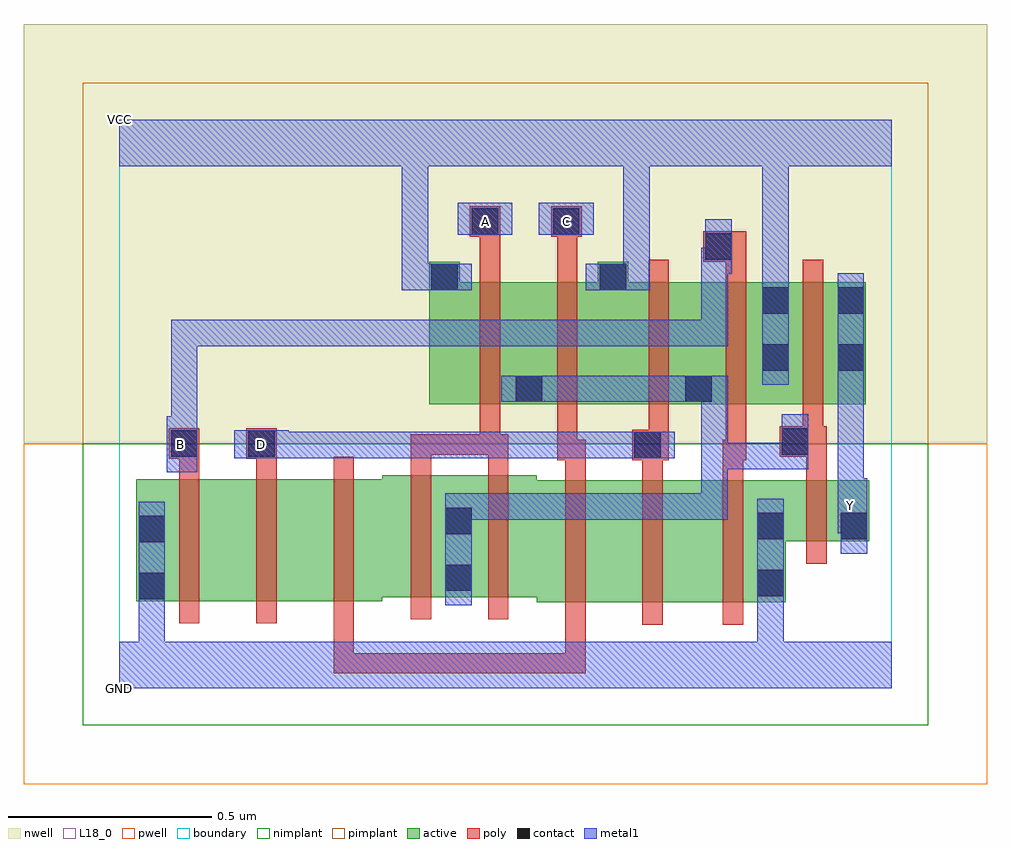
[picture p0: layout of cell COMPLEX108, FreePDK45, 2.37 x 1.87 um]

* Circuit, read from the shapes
.subckt COMPLEX108 A B C D GND VCC Y
M1 n1 B GND VSUBS nfet w=0.3u l=0.05u
M2 n2 D n1 VSUBS nfet w=0.3u l=0.05u
M3 n3 C n2 VSUBS nfet w=0.3u l=0.05u
M4 n4 A n3 VSUBS nfet w=0.3u l=0.05u
M5 n5 A n4 VSUBS nfet w=0.3u l=0.05u
M6 n6 C n5 VSUBS nfet w=0.3u l=0.05u
M7 n7 D n6 VSUBS nfet w=0.3u l=0.05u
M8 GND B n7 VSUBS nfet w=0.3u l=0.05u
M9 Y n4 GND VSUBS nfet w=0.15u l=0.05u
M10 n4 A VCC n8 pfet w=0.3u l=0.05u
M11 VCC C n4 n8 pfet w=0.3u l=0.05u
M12 n4 D VCC n8 pfet w=0.3u l=0.05u
M13 VCC B n4 n8 pfet w=0.3u l=0.05u
M14 Y n4 VCC n8 pfet w=0.3u l=0.05u
.ends

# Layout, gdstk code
import gdstk
lib = gdstk.Library(unit=1e-6, precision=1e-09)
def R(c, l, rs):  # rectangles x0, y0, x1, y1
    for r in rs: c.add(gdstk.rectangle(r[:2], r[2:], *l))
def A(c, l, x, y, w, h, nx, ny, dx, dy):  # array of equal rectangles
    R(c, l, [(x+i*dx, y+j*dy, x+i*dx+w, y+j*dy+h) for i in range(nx) for j in range(ny)])
active = (1, 0)
pwell = (2, 0)
nwell = (3, 0)
nimplant = (4, 0)
pimplant = (5, 0)
poly = (9, 0)
contact = (10, 0)
metal1 = (11, 0)
L18_0 = (18, 0)
boundary = (235, 0)

complex108 = lib.new_cell('COMPLEX108')
R(complex108, active, [(1.027,0.212,1.217,0.512), (1.217,0.212,1.407,0.512), (1.407,0.212,1.64,0.512), (1.565,0.212,1.64,0.512), (0.042,0.215,0.117,0.515), (0.042,0.215,0.267,0.515), (0.267,0.215,0.457,0.515), (0.457,0.215,0.647,0.515), (0.647,0.225,0.872,0.525), (0.797,0.225,1.027,0.525), (0.797,0.225,0.872,0.517), (1.565,0.362,1.845,0.512), (1.77,0.362,1.845,0.512), (0.762,0.7,1.045,1), (0.762,0.7,0.837,1.05), (0.97,0.7,1.252,1), (0.97,0.7,1.045,0.927), (1.177,0.7,1.462,1), (1.387,0.7,1.462,1), (1.387,0.7,1.652,1), (1.577,0.7,1.652,1), (1.577,0.7,1.837,1), (1.762,0.7,1.837,0.992), (1.177,0.832,1.252,1.05)])
R(complex108, pwell, [(-0.235,-0.235,2.135,0.602)])
R(complex108, nwell, [(-0.235,0.602,2.135,1.635)])
R(complex108, nimplant, [(-0.09,-0.09,1.99,0.602)])
R(complex108, pimplant, [(-0.09,0.602,1.99,1.49)])
A(complex108, poly, 0.147, 0.16, 0.05, 0.41, 3, 1, 0.19, 0)
A(complex108, poly, 1.302, 0.645, 0.05, 0.41, 3, 1, 0.19, 0)
R(complex108, poly, [(0.527,0.037,0.577,0.087), (0.527,0.037,0.767,0.087), (0.527,0.037,0.577,0.21), (0.717,0.037,0.767,0.087), (0.717,0.037,0.767,0.087), (0.717,0.037,0.767,0.087), (0.717,0.037,0.9,0.087), (0.85,0.037,0.9,0.087), (0.85,0.037,0.9,0.087), (0.85,0.037,0.9,0.087), (0.85,0.037,1.147,0.087), (1.097,0.037,1.147,0.207), (1.097,0.037,1.147,0.087), (1.097,0.037,1.147,0.087), (1.097,0.037,1.147,0.087), (1.097,0.157,1.147,0.567), (1.287,0.157,1.337,0.567), (1.485,0.157,1.535,0.567), (0.717,0.17,0.767,0.58), (0.907,0.17,0.957,0.58), (1.69,0.307,1.74,0.567), (1.097,0.517,1.147,0.612), (1.287,0.517,1.337,0.612), (1.485,0.517,1.535,0.612), (1.69,0.517,1.74,0.62), (0.147,0.52,0.197,0.615), (0.337,0.52,0.387,0.615), (0.717,0.53,0.767,0.625), (0.907,0.53,0.957,0.625), (1.077,0.562,1.127,0.695), (1.077,0.562,1.147,0.612), (1.262,0.562,1.352,0.637), (1.485,0.562,1.542,0.612), (1.492,0.562,1.542,0.695), (0.122,0.565,0.197,0.64), (0.312,0.565,0.387,0.64), (1.625,0.57,1.74,0.645), (0.717,0.575,0.767,0.625), (0.717,0.575,0.937,0.625), (0.887,0.575,0.957,0.625), (0.887,0.575,0.937,0.625), (0.887,0.575,0.937,0.625), (0.887,0.575,0.937,0.695), (1.302,0.587,1.352,0.695), (1.682,0.595,1.732,0.695), (0.887,0.645,0.937,1.055), (1.077,0.645,1.127,1.055), (0.887,1.005,0.937,1.162), (1.077,1.005,1.127,1.162), (1.492,1.005,1.542,1.1), (1.437,1.05,1.542,1.125), (0.862,1.112,0.937,1.187), (1.062,1.112,1.137,1.187)])
R(complex108, contact, [(0.047,0.22,0.112,0.285), (1.57,0.227,1.635,0.292), (0.802,0.24,0.867,0.305), (0.047,0.36,0.112,0.425), (1.57,0.367,1.635,0.432), (1.775,0.367,1.84,0.432), (0.802,0.38,0.867,0.445), (1.267,0.567,1.332,0.632), (0.127,0.57,0.192,0.635), (0.317,0.57,0.382,0.635), (1.63,0.575,1.695,0.64), (0.975,0.705,1.04,0.77), (1.392,0.705,1.457,0.77), (1.582,0.782,1.647,0.847), (1.767,0.782,1.832,0.847), (1.582,0.922,1.647,0.987), (1.767,0.922,1.832,0.987), (0.767,0.98,0.832,1.045), (1.182,0.98,1.247,1.045), (1.442,1.055,1.507,1.12), (0.867,1.117,0.932,1.182), (1.067,1.117,1.132,1.182)])
R(complex108, metal1, [(0,0,1.9,0.115), (0.047,0.05,0.112,0.115), (0.047,0.05,0.112,0.115), (0.047,0.05,0.112,0.25), (1.57,0.05,1.635,0.257), (0.047,0.185,0.112,0.46), (1.57,0.192,1.635,0.467), (1.57,0.192,1.635,0.257), (1.57,0.192,1.635,0.257), (0.802,0.205,0.867,0.48), (1.775,0.332,1.84,0.467), (1.767,0.382,1.84,0.517), (1.775,0.382,1.84,0.447), (0.802,0.415,0.867,0.48), (0.802,0.415,0.867,0.48), (0.802,0.415,1.075,0.48), (1.01,0.415,1.075,0.48), (1.01,0.415,1.075,0.48), (1.01,0.415,1.075,0.48), (1.01,0.415,1.212,0.48), (1.147,0.415,1.212,0.48), (1.147,0.415,1.305,0.48), (1.24,0.415,1.305,0.48), (1.24,0.415,1.497,0.48), (1.432,0.415,1.497,0.48), (1.432,0.415,1.497,0.605), (1.767,0.452,1.832,0.812), (0.117,0.532,0.192,0.67), (1.432,0.54,1.497,0.605), (1.432,0.54,1.557,0.605), (1.432,0.54,1.497,0.77), (1.492,0.54,1.557,0.605), (1.492,0.54,1.695,0.605), (1.63,0.54,1.695,0.605), (1.63,0.54,1.695,0.605), (1.63,0.54,1.695,0.675), (0.282,0.567,0.417,0.635), (0.352,0.567,0.417,0.632), (0.352,0.567,0.417,0.632), (0.352,0.567,0.555,0.632), (0.49,0.567,0.555,0.632), (0.49,0.567,0.555,0.632), (0.49,0.567,0.555,0.632), (0.49,0.567,0.73,0.632), (0.665,0.567,0.73,0.632), (0.665,0.567,0.73,0.632), (0.665,0.567,0.73,0.632), (0.665,0.567,0.937,0.632), (0.872,0.567,0.937,0.632), (0.872,0.567,1.075,0.632), (1.01,0.567,1.075,0.632), (1.01,0.567,1.075,0.632), (1.01,0.567,1.075,0.632), (1.01,0.567,1.212,0.632), (1.147,0.567,1.212,0.632), (1.147,0.567,1.297,0.632), (1.232,0.567,1.367,0.632), (0.127,0.605,0.192,0.67), (0.127,0.605,0.192,0.67), (0.127,0.605,0.192,0.907), (0.94,0.705,1.075,0.77), (1.01,0.705,1.075,0.77), (1.01,0.705,1.075,0.77), (1.01,0.705,1.212,0.77), (1.147,0.705,1.212,0.77), (1.147,0.705,1.37,0.77), (1.305,0.705,1.37,0.77), (1.305,0.705,1.422,0.77), (1.357,0.705,1.497,0.77), (1.582,0.747,1.647,1.022), (1.767,0.747,1.832,1.022), (0.127,0.842,0.192,0.907), (0.127,0.842,0.33,0.907), (0.265,0.842,0.33,0.907), (0.265,0.842,0.33,0.907), (0.265,0.842,0.33,0.907), (0.265,0.842,0.555,0.907), (0.49,0.842,0.555,0.907), (0.49,0.842,0.555,0.907), (0.49,0.842,0.555,0.907), (0.49,0.842,0.692,0.907), (0.627,0.842,0.692,0.907), (0.627,0.842,0.692,0.907), (0.627,0.842,0.692,0.907), (0.627,0.842,0.692,0.907), (0.627,0.842,0.692,0.907), (0.627,0.842,0.905,0.907), (0.84,0.842,0.905,0.907), (0.84,0.842,1.075,0.907), (1.01,0.842,1.075,0.907), (1.01,0.842,1.075,0.907), (1.01,0.842,1.075,0.907), (1.01,0.842,1.212,0.907), (1.147,0.842,1.212,0.907), (1.147,0.842,1.36,0.907), (1.295,0.842,1.36,0.907), (1.295,0.842,1.497,0.907), (1.432,0.842,1.497,0.907), (1.432,0.842,1.497,1.085), (1.582,0.957,1.647,1.022), (1.582,0.957,1.647,1.022), (1.582,0.957,1.647,1.022), (1.582,0.957,1.647,1.022), (1.582,0.957,1.647,1.35), (0.695,0.98,0.76,1.045), (0.695,0.98,0.76,1.045), (0.695,0.98,0.76,1.35), (0.695,0.98,0.867,1.045), (1.147,0.98,1.305,1.045), (1.24,0.98,1.305,1.045), (1.24,0.98,1.305,1.045), (1.24,0.98,1.305,1.045), (1.24,0.98,1.305,1.045), (1.24,0.98,1.305,1.35), (1.432,1.02,1.497,1.085), (1.432,1.02,1.497,1.085), (1.432,1.02,1.497,1.085), (1.432,1.02,1.507,1.085), (1.442,1.02,1.507,1.155), (0.832,1.117,0.967,1.195), (1.032,1.117,1.167,1.195), (0,1.285,1.9,1.4), (0.695,1.285,0.76,1.35), (0.695,1.285,0.76,1.35)])
R(complex108, L18_0, [(0,0,1.9,0.115), (0.047,0.05,0.112,0.115), (0.047,0.05,0.112,0.115), (0.047,0.05,0.112,0.25), (1.57,0.05,1.635,0.257), (0.047,0.185,0.112,0.46), (1.57,0.192,1.635,0.257), (1.57,0.192,1.635,0.257), (1.57,0.192,1.635,0.467), (1.775,0.332,1.84,0.467), (1.767,0.382,1.84,0.517), (1.775,0.382,1.84,0.447), (1.767,0.417,1.832,0.482), (1.767,0.452,1.832,0.812), (0.117,0.532,0.192,0.67), (0.117,0.567,0.182,0.632), (0.282,0.567,0.417,0.635), (0.317,0.567,0.382,0.632), (0.352,0.567,0.417,0.632), (0.352,0.567,0.417,0.632), (0.352,0.567,0.555,0.632), (0.49,0.567,0.555,0.632), (0.49,0.567,0.555,0.632), (0.49,0.567,0.555,0.632), (0.49,0.567,0.73,0.632), (0.665,0.567,0.73,0.632), (0.665,0.567,0.73,0.632), (0.665,0.567,0.73,0.632), (0.665,0.567,0.937,0.632), (0.872,0.567,0.937,0.632), (0.872,0.567,1.075,0.632), (1.01,0.567,1.075,0.632), (1.01,0.567,1.075,0.632), (1.01,0.567,1.075,0.632), (1.01,0.567,1.212,0.632), (1.147,0.567,1.212,0.632), (1.147,0.567,1.297,0.632), (1.232,0.567,1.367,0.632), (0.127,0.605,0.192,0.67), (0.127,0.605,0.192,0.67), (0.127,0.605,0.192,0.907), (1.582,0.747,1.647,1.022), (1.767,0.747,1.832,1.022), (0.127,0.842,0.192,0.907), (0.127,0.842,0.33,0.907), (0.265,0.842,0.33,0.907), (0.265,0.842,0.33,0.907), (0.265,0.842,0.33,0.907), (0.265,0.842,0.555,0.907), (0.49,0.842,0.555,0.907), (0.49,0.842,0.555,0.907), (0.49,0.842,0.555,0.907), (0.49,0.842,0.692,0.907), (0.627,0.842,0.692,0.907), (0.627,0.842,0.692,0.907), (0.627,0.842,0.692,0.907), (0.627,0.842,0.692,0.907), (0.627,0.842,0.692,0.907), (0.627,0.842,0.905,0.907), (0.84,0.842,0.905,0.907), (0.84,0.842,1.075,0.907), (1.01,0.842,1.075,0.907), (1.01,0.842,1.075,0.907), (1.01,0.842,1.075,0.907), (1.01,0.842,1.212,0.907), (1.147,0.842,1.212,0.907), (1.147,0.842,1.36,0.907), (1.295,0.842,1.36,0.907), (1.295,0.842,1.497,0.907), (1.432,0.842,1.497,0.907), (1.432,0.842,1.497,1.085), (1.582,0.957,1.647,1.022), (1.582,0.957,1.647,1.022), (1.582,0.957,1.647,1.022), (1.582,0.957,1.647,1.022), (1.582,0.957,1.647,1.35), (0.695,0.98,0.76,1.045), (0.695,0.98,0.76,1.045), (0.695,0.98,0.867,1.045), (0.695,0.98,0.76,1.35), (1.147,0.98,1.305,1.045), (1.24,0.98,1.305,1.045), (1.24,0.98,1.305,1.045), (1.24,0.98,1.305,1.045), (1.24,0.98,1.305,1.045), (1.24,0.98,1.305,1.35), (1.432,1.02,1.497,1.085), (1.432,1.02,1.497,1.085), (1.432,1.02,1.497,1.085), (1.432,1.02,1.507,1.085), (1.442,1.02,1.507,1.155), (0.832,1.117,0.967,1.195), (0.867,1.117,0.932,1.182), (1.032,1.117,1.167,1.195), (1.067,1.117,1.132,1.182), (0,1.285,1.9,1.4), (0.695,1.285,0.76,1.35), (0.695,1.285,0.76,1.35)])
R(complex108, boundary, [(0,0,1.9,1.4)])
complex108.add(gdstk.Label('A', (0.9,1.15), layer=11, texttype=0))
complex108.add(gdstk.Label('B', (0.15,0.6), layer=11, texttype=0))
complex108.add(gdstk.Label('C', (1.1,1.15), layer=11, texttype=0))
complex108.add(gdstk.Label('D', (0.35,0.6), layer=11, texttype=0))
complex108.add(gdstk.Label('Y', (1.8,0.45), layer=11, texttype=0))
complex108.add(gdstk.Label('VCC', (0,1.4), layer=11, texttype=0))
complex108.add(gdstk.Label('GND', (0,0), layer=11, texttype=0))

lib.write_gds('COMPLEX108.gds')
